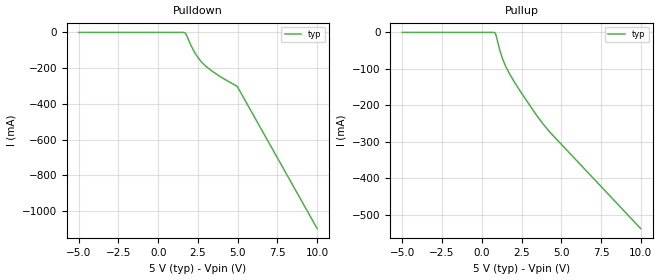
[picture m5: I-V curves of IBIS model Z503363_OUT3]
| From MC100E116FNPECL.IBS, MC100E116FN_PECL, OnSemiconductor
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| (C) COPYRIGHT 1993-2000
| MENTOR GRAPHICS CORPORATION
| ICX STANDARD LIBRARY, ICX PROJECT MODELING,
| ICX CUSTOM MODELING, ICX VENDOR MODEL
| ALL RIGHTS RESERVED.
| THE FOLLOWING ARE TRADEMARKS OR SERVICE MARKS OF
| MENTOR GRAPHICS CORPORATION:ICX (R), ICX STANDARD
| LIBRARY(R), ICX PROJECT MODELING(R), ICX CUSTOM
| MODELING(R), qualityIBIS(TM), MODELVIEWER(TM),
| AND MODELEDITOR(TM)
| ALL COPIES OF SOFTWARE, INCLUDING BUT NOT LIMITED TO
| ANY MODIFICATIONS, ENHANCEMENTS OR DERIVATIVE WORKS,
| MUST CONTAIN ALL MENTOR GRAPHICS CORPORATION'S
| NOTICES AND LEGENDS, INCLUDING THOSE EMBEDDED IN
| SOFTWARE AND THOSE AFFIXED TO SOFTWARE MEDIUM
| AND CONTAINER, AS RECEIVED FROM MENTOR GRAPHICS
| CORPORATION.
| Model Application Version 1.89 2/18/99.
[Model] Z503363_OUT3
Model_type Output_ECL
Vref=3.000V
Rref=50.00ohms
Cref=0.000F
Vmeas=3.677V
C_comp 8.000pF NA NA
| variable typ   min   max
[Voltage Range] 5.000V NA NA
[POWER Clamp Reference] 5.000V NA NA
[Pullup Reference] 5.000V NA NA
[Pulldown Reference] 5.000V NA NA
[GND Clamp Reference] 0.000V NA NA
[GND Clamp]
-5V       0A         NA         NA
10V       0A         NA         NA
[Pulldown]
-5V       0A         NA         NA
1.674V    -1.9mA     NA         NA
1.776V    -14.5mA    NA         NA
2.06V     -72.9mA    NA         NA
2.303V    -114.1mA   NA         NA
2.75V     -168.3mA   NA         NA
3.5V      -223.6mA   NA         NA
4.981V    -303.8mA   NA         NA
10V       -1.098A    NA         NA
[Pullup]
-5V       0A         NA         NA
827mV     -1.5mA     NA         NA
908mV     -9.3mA     NA         NA
1.131V    -48.4mA    NA         NA
1.314V    -73.2mA    NA         NA
1.517V    -94.3mA    NA         NA
1.76V     -114.6mA   NA         NA
2.45V     -163.3mA   NA         NA
3.384V    -223.5mA   NA         NA
3.85V     -250.9mA   NA         NA
4.256V    -272.3mA   NA         NA
10V       -538.3mA   NA         NA
[POWER Clamp]
-5V       0A         NA         NA
10V       0A         NA         NA
[Ramp]
| variable typ min max
dV/dt_r 495.3m/265.3p NA NA
dV/dt_f 495.3m/173.9p NA NA
R_load = 500.0Ohms
